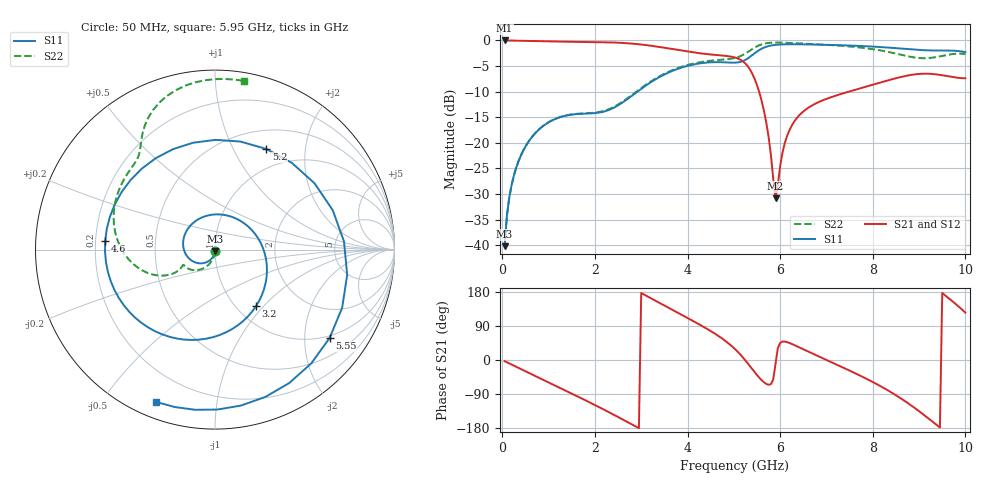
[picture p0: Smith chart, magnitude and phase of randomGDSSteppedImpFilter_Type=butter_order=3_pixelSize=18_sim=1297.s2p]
! freq	dB(S11)	phase(S11)	dB(S12)	phase(S12)
!  dB(S21)	phase(S21)	dB(S22)	phase(S22)
!S-par simulation data
#  GHz  S  DB  R 50
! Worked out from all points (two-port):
!   200 points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, 50 MHz to 10 GHz, reference 50 ohm
!   highest |S21| = -0.01 dB at 50 MHz (marker M1); lowest = -30.8 dB at 5.9 GHz (marker M2)
!   |S21| within 3 dB of the highest: start of sweep to 4.814 GHz
!   lowest |S11| = -40.2 dB at 50 MHz (marker M3), VSWR 1.02, Z = 49.9 - j0.977 ohm
!   |S11| at or under -10 dB: start of sweep to 2.917 GHz
!   |S22| runs from -40.1 to -0.4 dB; largest |S21 - S12| = 0
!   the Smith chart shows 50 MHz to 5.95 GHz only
!   S11 on the Smith chart (normalised r, x): 50 MHz: 1.00, -0.02; 3.2 GHz: 1.23, -0.91; 4.6 GHz: 0.24, +0.04; 5.2 GHz: 0.73, +1.36; 5.55 GHz: 0.94, -2.64; 5.95 GHz: 0.07, -0.68
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0.05  -40.18 -93.1  -0.01 -3.0  -0.01 -3.0  -40.12 -91.5
0.2  -28.29 -104.5  -0.03 -12.0  -0.03 -12.0  -28.27 -99.1
0.5  -20.74 -127.2  -0.08 -29.7  -0.08 -29.7  -20.71 -113.2
1.75  -14.31 125.0  -0.29 -103.5  -0.29 -103.5  -14.25 -153.3
2.55  -12.40 21.3  -0.46 -153.6  -0.46 -153.6  -12.24 -150.1
3.2  -8.20 -53.9  -1.02 163.5  -1.02 163.5  -8.06 -160.7
3.4  -7.12 -73.1  -1.29 150.3  -1.29 150.3  -6.99 -167.7
4  -4.97 -126.3  -2.17 110.9  -2.17 110.9  -4.80 167.3
4.6  -4.24 175.3  -2.83 68.8  -2.83 68.8  -3.87 142.3
5.05  -4.32 101.6  -3.41 25.9  -3.41 25.9  -3.36 128.5
5.2  -4.02 63.0  -4.12 6.2  -4.12 6.2  -2.82 124.8
5.4  -2.85 3.7  -6.53 -24.3  -6.53 -24.3  -1.68 116.8
5.55  -1.87 -37.6  -10.14 -46.7  -10.14 -46.7  -0.94 107.4
5.9  -0.86 -104.3  -30.84 -11.2  -30.84 -11.2  -0.41 83.3
5.95  -0.82 -111.0  -28.21 31.2  -28.21 31.2  -0.41 80.2
6.2  -0.74 -138.3  -17.54 44.9  -17.54 44.9  -0.49 65.1
6.7  -0.80 -175.8  -12.64 16.9  -12.64 16.9  -0.71 36.2
7.55  -1.01 139.0  -9.82 -30.9  -9.82 -30.9  -1.22 -17.1
8.35  -1.41 103.1  -7.74 -81.8  -7.74 -81.8  -2.27 -85.2
9.1  -1.91 74.0  -6.50 -144.5  -6.50 -144.5  -3.48 170.8
9.55  -1.97 57.8  -6.88 171.9  -6.88 171.9  -2.93 97.5
10  -2.29 39.6  -7.39 124.9  -7.39 124.9  -2.69 36.2
